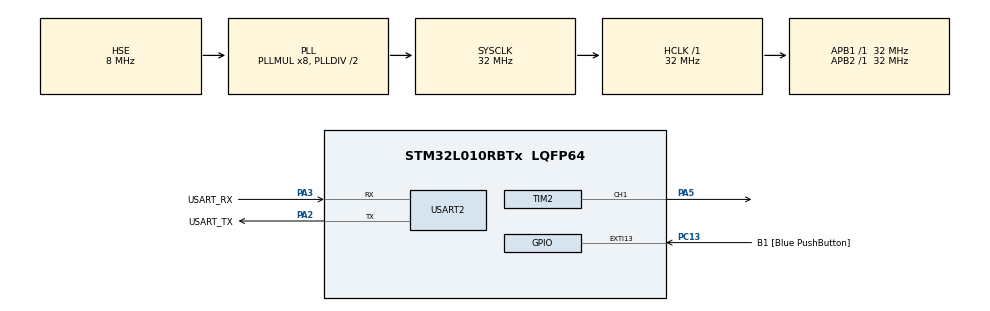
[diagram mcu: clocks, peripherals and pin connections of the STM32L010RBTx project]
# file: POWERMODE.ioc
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Mcu.Family=STM32L0
Mcu.Name=STM32L010RBTx
Mcu.Package=LQFP64
PA13.GPIO_Label=TMS
PA13.Mode=Serial_Wire
PA13.Signal=SYS_SWDIO
PA14.GPIO_Label=TCK
PA14.Mode=Serial_Wire
PA14.Signal=SYS_SWCLK
PA2.GPIO_Label=USART_TX
PA2.Mode=Asynchronous
PA2.Signal=USART2_TX
PA3.GPIO_Label=USART_RX
PA3.Mode=Asynchronous
PA3.Signal=USART2_RX
PA5.Signal=S_TIM2_CH1
PC13.GPIO_Label=B1 [Blue PushButton]
PC13.GPIO_ModeDefaultEXTI=GPIO_MODE_EVT_RISING
PC13.Signal=GPXTI13
PC13.Stacked=true
PC14-OSC32_IN.Mode=LSE-External-Oscillator
PC14-OSC32_IN.Signal=RCC_OSC32_IN
PC15-OSC32_OUT.Mode=LSE-External-Oscillator
PC15-OSC32_OUT.Signal=RCC_OSC32_OUT
PH0-OSC_IN.GPIO_Label=MCO
PH0-OSC_IN.Mode=HSE-External-Clock-Source
PH0-OSC_IN.Signal=RCC_OSC_IN
ProjectManager.HeapSize=0x200
ProjectManager.StackSize=0x400
ProjectManager.TargetToolchain=STM32CubeIDE
RCC.AHBFreq_Value=32000000
RCC.APB1Freq_Value=32000000
RCC.APB1TimFreq_Value=32000000
RCC.APB2Freq_Value=32000000
RCC.APB2TimFreq_Value=32000000
RCC.HCLKFreq_Value=32000000
RCC.HSE_VALUE=8000000
RCC.HSI16_VALUE=16000000
RCC.HSI48_VALUE=48000000
RCC.HSI_VALUE=16000000
RCC.MSI_VALUE=2097000
RCC.PLLMUL=RCC_PLLMUL_8
RCC.PLLSourceVirtual=RCC_PLLSOURCE_HSE
RCC.SYSCLKFreq_VALUE=32000000
RCC.SYSCLKSource=RCC_SYSCLKSOURCE_PLLCLK
RCC.VCOOutputFreq_Value=64000000
SH.S_TIM2_CH1.0=TIM2_CH1,PWM Generation1 CH1
TIM2.Channel-PWM\ Generation1\ CH1=TIM_CHANNEL_1
TIM2.Period=3200
TIM2.Prescaler=10000
TIM2.Pulse-PWM\ Generation1\ CH1=1600
USART2.VirtualMode-Asynchronous=VM_ASYNC
VP_TIM2_VS_ClockSourceINT.Mode=Internal
board=NUCLEO-L010RB

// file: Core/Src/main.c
/* USER CODE BEGIN Header */
/**
  ******************************************************************************
  * @file           : main.c
  * @brief          : Main program body
  ******************************************************************************
  * @attention
  *
  * Copyright (c) 2022 STMicroelectronics.
  * All rights reserved.
  *
  * This software is licensed under terms that can be found in the LICENSE file
  * in the root directory of this software component.
  * If no LICENSE file comes with this software, it is provided AS-IS.
  *
  ******************************************************************************
  */
/* USER CODE END Header */
#include "main.h"

TIM_HandleTypeDef htim2;

UART_HandleTypeDef huart2;

/* USER CODE BEGIN PV */
struct
{
	int Sleep;
	int Stop;
	int Standby;
}Enter ={0};

uint32_t ramDemo = 1;

/* USER CODE END PV */

void SystemClock_Config(void);
static void MX_GPIO_Init(void);
static void MX_USART2_UART_Init(void);
static void MX_TIM2_Init(void);

int main(void)
{

  /* MCU Configuration--------------------------------------------------------*/

  /* Reset of all peripherals, Initializes the Flash interface and the Systick. */
  HAL_Init();

  /* Configure the system clock */
  SystemClock_Config();

  /* Initialize all configured peripherals */
  MX_GPIO_Init();
  MX_USART2_UART_Init();
  MX_TIM2_Init();
  /* USER CODE BEGIN 2 */

  HAL_TIM_Base_Start(&htim2);
  HAL_TIM_PWM_Start(&htim2, TIM_CHANNEL_1);
  HAL_Delay(5000);
  /* USER CODE END 2 */

  /* Infinite loop */
  /* USER CODE BEGIN WHILE */
  while (1)
  {
	  //simulate task
	  __HAL_TIM_SET_COMPARE(&htim2,TIM_CHANNEL_1,400);
	  ramDemo++;
	  HAL_Delay(3000);
	  __HAL_TIM_SET_COMPARE(&htim2,TIM_CHANNEL_1,2800);
	  ramDemo++;
	  HAL_Delay(3000);

	  if(Enter.Sleep)
	  {
		  HAL_SuspendTick();
		  HAL_NVIC_ClearPendingIRQ(EXTI4_15_IRQn); //Clear IT that is already in or in execution
		  __HAL_GPIO_EXTI_CLEAR_IT(GPIO_PIN_13); //Clear IT flag
		  HAL_PWR_EnterSLEEPMode(PWR_MAINREGULATOR_ON, PWR_SLEEPENTRY_WFE);
		  //CPU PAUSE HERE
		  HAL_ResumeTick();
		  Enter.Sleep =0;

	  }

	  if(Enter.Stop)
	   {
		HAL_SuspendTick();
		HAL_NVIC_ClearPendingIRQ(EXTI4_15_IRQn);
		__HAL_GPIO_EXTI_CLEAR_IT(GPIO_PIN_13);
		HAL_PWR_EnterSTOPMode(PWR_MAINREGULATOR_ON, PWR_STOPENTRY_WFE);
		//CPU PAUSE HERE
		SystemClock_Config(); // Since all peripheral is down the setting is lost so we need to set config again.
		HAL_ResumeTick();
		Enter.Stop =0;
	   }

	  if(Enter.Standby)
	  {
		  HAL_PWR_EnableWakeUpPin(PWR_WAKEUP_PIN2);
		  __HAL_PWR_CLEAR_FLAG(PWR_FLAG_WU); // Use to check if our mcu wake up not sys reset
		  //we can read __HAL_PWR_GET_FLAG(PWR_FLAG_WU) to identify reset cause
		  //or read PWR->CSR
		  HAL_PWR_EnterSTANDBYMode();
		  //code will never run upto here
	  }
	  __HAL_RCC_GET_FLAG(RCC_FLAG_PINRST);

    /* USER CODE END WHILE */

  }
}

void SystemClock_Config(void)
{
  RCC_OscInitTypeDef RCC_OscInitStruct = {0};
  RCC_ClkInitTypeDef RCC_ClkInitStruct = {0};
  RCC_PeriphCLKInitTypeDef PeriphClkInit = {0};

  /** Configure the main internal regulator output voltage
  */
  __HAL_PWR_VOLTAGESCALING_CONFIG(PWR_REGULATOR_VOLTAGE_SCALE1);

  /** Initializes the RCC Oscillators according to the specified parameters
  * in the RCC_OscInitTypeDef structure.
  */
  RCC_OscInitStruct.OscillatorType = RCC_OSCILLATORTYPE_HSE;
  RCC_OscInitStruct.HSEState = RCC_HSE_BYPASS;
  RCC_OscInitStruct.PLL.PLLState = RCC_PLL_ON;
  RCC_OscInitStruct.PLL.PLLSource = RCC_PLLSOURCE_HSE;
  RCC_OscInitStruct.PLL.PLLMUL = RCC_PLLMUL_8;
  RCC_OscInitStruct.PLL.PLLDIV = RCC_PLLDIV_2;
  if (HAL_RCC_OscConfig(&RCC_OscInitStruct) != HAL_OK)
  {
    Error_Handler();
  }

  /** Initializes the CPU, AHB and APB buses clocks
  */
  RCC_ClkInitStruct.ClockType = RCC_CLOCKTYPE_HCLK|RCC_CLOCKTYPE_SYSCLK
                              |RCC_CLOCKTYPE_PCLK1|RCC_CLOCKTYPE_PCLK2;
  RCC_ClkInitStruct.SYSCLKSource = RCC_SYSCLKSOURCE_PLLCLK;
  RCC_ClkInitStruct.AHBCLKDivider = RCC_SYSCLK_DIV1;
  RCC_ClkInitStruct.APB1CLKDivider = RCC_HCLK_DIV1;
  RCC_ClkInitStruct.APB2CLKDivider = RCC_HCLK_DIV1;

  if (HAL_RCC_ClockConfig(&RCC_ClkInitStruct, FLASH_LATENCY_1) != HAL_OK)
  {
    Error_Handler();
  }
  PeriphClkInit.PeriphClockSelection = RCC_PERIPHCLK_USART2;
  PeriphClkInit.Usart2ClockSelection = RCC_USART2CLKSOURCE_PCLK1;
  if (HAL_RCCEx_PeriphCLKConfig(&PeriphClkInit) != HAL_OK)
  {
    Error_Handler();
  }
}

static void MX_TIM2_Init(void)
{

  TIM_ClockConfigTypeDef sClockSourceConfig = {0};
  TIM_MasterConfigTypeDef sMasterConfig = {0};
  TIM_OC_InitTypeDef sConfigOC = {0};

  htim2.Instance = TIM2;
  htim2.Init.Prescaler = 10000;
  htim2.Init.CounterMode = TIM_COUNTERMODE_UP;
  htim2.Init.Period = 3200;
  htim2.Init.ClockDivision = TIM_CLOCKDIVISION_DIV1;
  htim2.Init.AutoReloadPreload = TIM_AUTORELOAD_PRELOAD_DISABLE;
  if (HAL_TIM_Base_Init(&htim2) != HAL_OK)
  {
    Error_Handler();
  }
  sClockSourceConfig.ClockSource = TIM_CLOCKSOURCE_INTERNAL;
  if (HAL_TIM_ConfigClockSource(&htim2, &sClockSourceConfig) != HAL_OK)
  {
    Error_Handler();
  }
  if (HAL_TIM_PWM_Init(&htim2) != HAL_OK)
  {
    Error_Handler();
  }
  sMasterConfig.MasterOutputTrigger = TIM_TRGO_RESET;
  sMasterConfig.MasterSlaveMode = TIM_MASTERSLAVEMODE_DISABLE;
  if (HAL_TIMEx_MasterConfigSynchronization(&htim2, &sMasterConfig) != HAL_OK)
  {
    Error_Handler();
  }
  sConfigOC.OCMode = TIM_OCMODE_PWM1;
  sConfigOC.Pulse = 1600;
  sConfigOC.OCPolarity = TIM_OCPOLARITY_HIGH;
  sConfigOC.OCFastMode = TIM_OCFAST_DISABLE;
  if (HAL_TIM_PWM_ConfigChannel(&htim2, &sConfigOC, TIM_CHANNEL_1) != HAL_OK)
  {
    Error_Handler();
  }
  HAL_TIM_MspPostInit(&htim2);

}

static void MX_USART2_UART_Init(void)
{

  huart2.Instance = USART2;
  huart2.Init.BaudRate = 115200;
  huart2.Init.WordLength = UART_WORDLENGTH_8B;
  huart2.Init.StopBits = UART_STOPBITS_1;
  huart2.Init.Parity = UART_PARITY_NONE;
  huart2.Init.Mode = UART_MODE_TX_RX;
  huart2.Init.HwFlowCtl = UART_HWCONTROL_NONE;
  huart2.Init.OverSampling = UART_OVERSAMPLING_16;
  huart2.Init.OneBitSampling = UART_ONE_BIT_SAMPLE_DISABLE;
  huart2.AdvancedInit.AdvFeatureInit = UART_ADVFEATURE_NO_INIT;
  if (HAL_UART_Init(&huart2) != HAL_OK)
  {
    Error_Handler();
  }

}

static void MX_GPIO_Init(void)
{
  GPIO_InitTypeDef GPIO_InitStruct = {0};

  /* GPIO Ports Clock Enable */
  __HAL_RCC_GPIOC_CLK_ENABLE();
  __HAL_RCC_GPIOH_CLK_ENABLE();
  __HAL_RCC_GPIOA_CLK_ENABLE();

  /*Configure GPIO pin : B1_Pin */
  GPIO_InitStruct.Pin = B1_Pin;
  GPIO_InitStruct.Mode = GPIO_MODE_EVT_RISING;
  GPIO_InitStruct.Pull = GPIO_NOPULL;
  HAL_GPIO_Init(B1_GPIO_Port, &GPIO_InitStruct);

}

void Error_Handler(void)
{
  __disable_irq();
  while (1)
  {
  }
}
